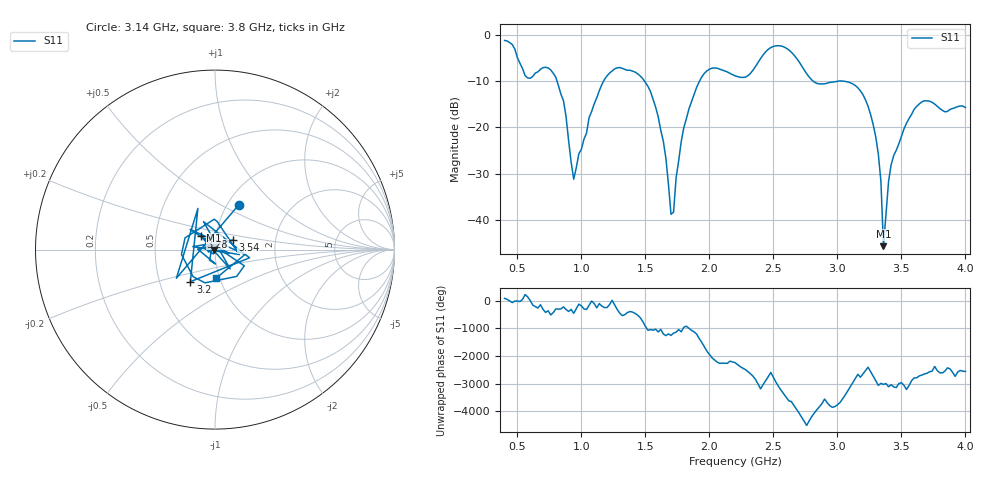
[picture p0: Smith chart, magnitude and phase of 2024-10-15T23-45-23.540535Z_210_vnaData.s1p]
! Created with skrf (http://scikit-rf.org).
# Hz S RI R 50.0
!freq ReS11 ImS11
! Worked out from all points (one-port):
!   181 points, 400 MHz to 4 GHz, reference 50 ohm
!   lowest |S11| = -45.7 dB at 3.36 GHz (marker M1), VSWR 1.01, Z = 49.6 - j0.261 ohm
!   |S11| at or under -10 dB: 809.5 MHz to 1.173 GHz (363.8 MHz wide, 36.7 % of centre); 1.493 GHz to 1.923 GHz (429.8 MHz wide, 25.2 % of centre); 3.045 GHz to end of sweep (the widest 3 of 4)
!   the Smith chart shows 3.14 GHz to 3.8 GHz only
!   S11 on the Smith chart (normalised r, x): 3.14 GHz: 1.13, +0.62; 3.2 GHz: 0.72, -0.27; 3.28 GHz: 0.85, +0.13; 3.54 GHz: 1.21, +0.13; 3.8 GHz: 0.96, -0.32
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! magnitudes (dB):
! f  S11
! 400 MHz  -1.2
! 580 MHz  -9.3
! 760 MHz  -7.6
! 860 MHz  -14.2
! 940 MHz  -31.2
! 1.14 GHz  -12.1
! 1.3 GHz  -7.1
! 1.54 GHz  -12.3
! 1.64 GHz  -23.0
! 1.7 GHz  -38.8
! 1.72 GHz  -38.3
! 1.76 GHz  -27.2
! 1.94 GHz  -9.1
! 2.2 GHz  -8.8
! 2.5 GHz  -2.5
! 2.66 GHz  -4.3
! 2.84 GHz  -10.5
! 3.1 GHz  -10.3
! 3.14 GHz  -10.9
! 3.2 GHz  -12.9
! 3.28 GHz  -19.4
! 3.34 GHz  -31.7
! 3.36 GHz  -45.7
! 3.42 GHz  -28.1
! 3.54 GHz  -19.1
! 3.56 GHz  -18.1
! 3.8 GHz  -15.9
! 4 GHz  -15.7
